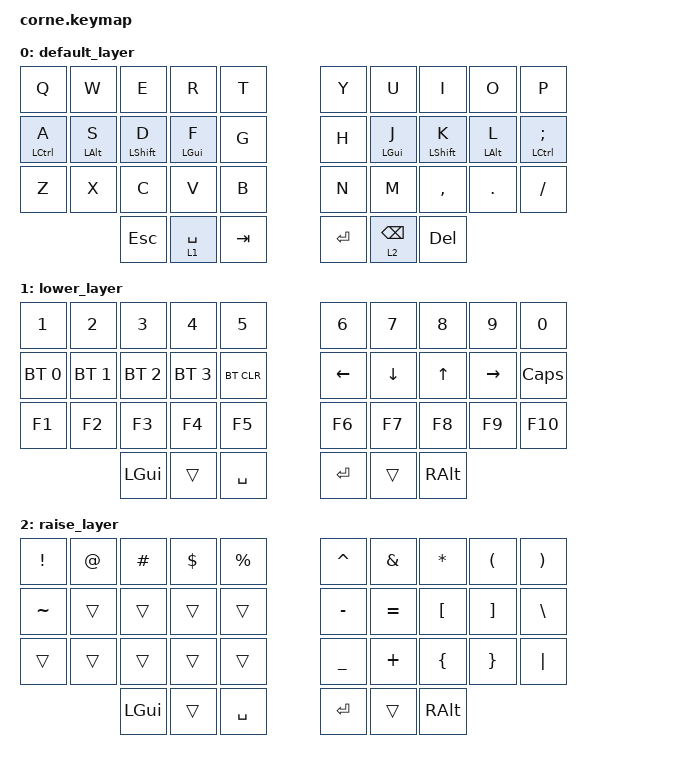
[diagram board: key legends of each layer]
/*
 * Copyright (c) 2020 The ZMK Contributors
 *
 * SPDX-License-Identifier: MIT
 */

#include <behaviors.dtsi>
#include <dt-bindings/zmk/bt.h>
#include <dt-bindings/zmk/keys.h>
#include "clog_v2.h"

/ {
    behaviors {
        hrm: hrm {
            compatible = "zmk,behavior-hold-tap";
            label = "HRM";
            bindings = <&kp>, <&kp>;

            #binding-cells = <2>;
            flavor = "tap-preferred";
            tapping-term-ms = <270>;
        };
    };

    keymap {
        compatible = "zmk,keymap";

        default_layer {
            // -----------------------------------------------------------------------------------------
            // |  Q  |  W  |  E  |  R  |  T  |   |  Y  |  U   |  I  |  O  |  P  |
            // |  A  |  S  |  D  |  F  |  G  |   |  H  |  J   |  K  |  L  |  ;  |
            // |  Z  |  X  |  C  |  V  |  B  |   |  N  |  M   |  ,  |  .  |  /  |
            //                    | GUI | LWR | SPC |   | ENT | RSE  | ALT |

            bindings = <
&kp Q         &kp W        &kp E          &kp R        &kp T      &kp Y    &kp U            &kp I          &kp O        &kp P           
&hrm LCTRL A  &hrm LALT S  &hrm LSHIFT D  &hrm LGUI F  &kp G      &kp H    &hrm LGUI J      &hrm LSHIFT K  &hrm LALT L  &hrm LCTRL SEMI  
&kp Z         &kp X        &kp C          &kp V        &kp B      &kp N    &kp M            &kp COMMA      &kp DOT      &kp FSLH         
                                  &kp ESCAPE     &lt 1 SPACE  &kp TAB    &kp RET  &lt 2 BACKSPACE  &kp DEL
            >;
        };

        lower_layer {
            // -----------------------------------------------------------------------------------------
            // |  1  |  2  |  3  |  4  |  5  |   |  6  |  7  |  8  |  9  |  0  |
            // | BT1 | BT2 | BT3 | BT4 | BT5 |   | LFT | DWN |  UP | RGT |     |
            // |     |     |     |     |     |   |     |     |     |     |     |
            //                    | GUI |     | SPC |   | ENT |     | ALT |

            bindings = <
&kp N1        &kp N2        &kp N3        &kp N4        &kp N5        &kp N6    &kp N7    &kp N8    &kp N9     &kp N0    
&bt BT_SEL 0  &bt BT_SEL 1  &bt BT_SEL 2  &bt BT_SEL 3  &bt BT_CLR    &kp LEFT  &kp DOWN  &kp UP    &kp RIGHT  &kp CLCK  
&kp F1        &kp F2        &kp F3        &kp F4        &kp F5        &kp F6    &kp F7    &kp F8    &kp F9     &kp F10   
                                   &kp LGUI      &trans        &kp SPACE     &kp RET   &trans    &kp RALT
            >;
        };

        raise_layer {
            // -----------------------------------------------------------------------------------------
            // |  !  |  @  |  #  |  $  |  %  |   |  ^  |  &  |  *  |  (  |  )  |
            // |     |     |     |     |     |   |  -  |  =  |  [  |  ]  |  \  |
            // |     |     |     |     |     |   |  _  |  +  |  {  |  }  | "|" |
            //                    | GUI |     | SPC |   | ENT |     | ALT |

            bindings = <
&kp EXCL   &kp AT  &kp HASH  &kp DLLR  &kp PRCNT    &kp CARET  &kp AMPS   &kp ASTRK  &kp LPAR  &kp RPAR  
&kp TILDE  &trans  &trans    &trans    &trans       &kp MINUS  &kp EQUAL  &kp LBKT   &kp RBKT  &kp BSLH  
&trans     &trans  &trans    &trans    &trans       &kp UNDER  &kp PLUS   &kp LBRC   &kp RBRC  &kp PIPE  
                          &kp LGUI  &trans    &kp SPACE    &kp RET    &trans     &kp RALT
            >;
        };
    };
};
